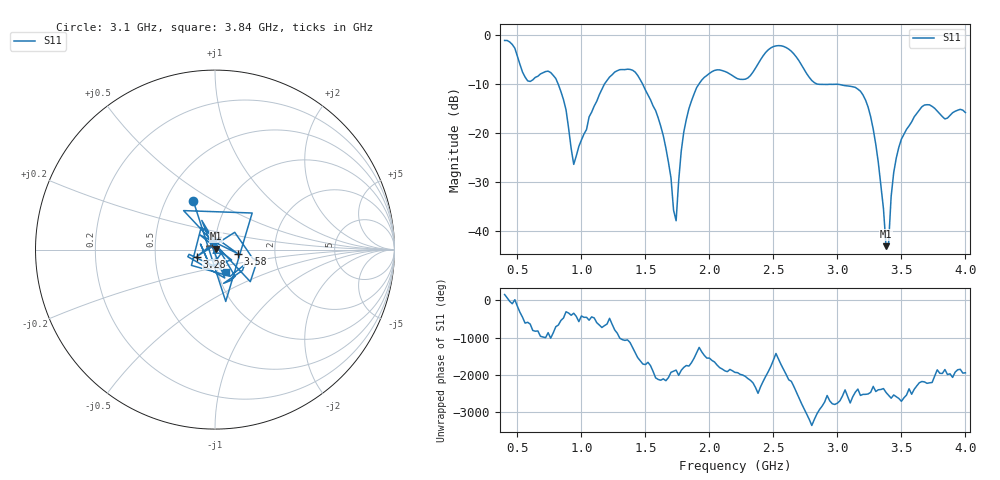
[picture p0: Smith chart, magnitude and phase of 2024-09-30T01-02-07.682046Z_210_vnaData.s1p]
!Created with skrf (http://scikit-rf.org).
# Hz S RI R 50.0
!freq ReS11 ImS11
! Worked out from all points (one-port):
!   181 points, 400 MHz to 4 GHz, reference 50 ohm
!   lowest |S11| = -43.0 dB at 3.38 GHz (marker M1), VSWR 1.01, Z = 50.6 + j0.441 ohm
!   |S11| at or under -10 dB: 817.5 MHz to 1.181 GHz (363.8 MHz wide, 36.4 % of centre); 1.477 GHz to 1.92 GHz (442.5 MHz wide, 26.1 % of centre); 2.837 GHz to end of sweep
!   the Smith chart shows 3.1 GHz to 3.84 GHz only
!   S11 on the Smith chart (normalised r, x): 3.1 GHz: 0.68, +0.41; 3.28 GHz: 0.81, -0.06; 3.58 GHz: 1.29, -0.06; 3.84 GHz: 1.10, -0.28
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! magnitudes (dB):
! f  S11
! 400 MHz  -1.2
! 580 MHz  -9.4
! 740 MHz  -7.4
! 860 MHz  -13.2
! 940 MHz  -26.4
! 1.18 GHz  -10.0
! 1.3 GHz  -7.1
! 1.58 GHz  -15.4
! 1.66 GHz  -23.1
! 1.74 GHz  -37.8
! 1.76 GHz  -29.7
! 1.8 GHz  -19.8
! 1.9 GHz  -10.8
! 2.2 GHz  -8.7
! 2.5 GHz  -2.4
! 2.66 GHz  -3.9
! 2.82 GHz  -9.8
! 3.1 GHz  -10.5
! 3.28 GHz  -19.2
! 3.38 GHz  -43.0
! 3.4 GHz  -42.4
! 3.42 GHz  -32.9
! 3.46 GHz  -25.1
! 3.56 GHz  -18.5
! 3.58 GHz  -17.8
! 3.7 GHz  -14.2
! 3.84 GHz  -17.1
! 4 GHz  -15.8
